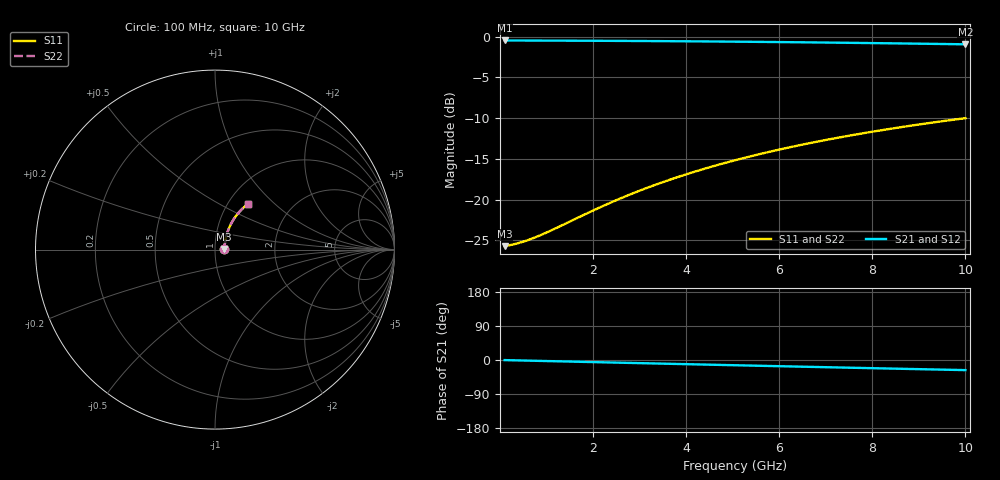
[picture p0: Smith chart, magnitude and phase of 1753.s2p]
# Hz S RI R 50.00
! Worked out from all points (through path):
!   100 points, 100 MHz to 10 GHz, reference 50 ohm
!   highest |S21| = -0.46 dB at 100 MHz (marker M1); lowest = -0.9 dB at 10 GHz (marker M2)
!   group delay of S21, straight-line fit = 7.43 ps
!   lowest |S11| = -25.7 dB at 100 MHz (marker M3), VSWR 1.11, Z = 55.5 + j0.346 ohm
!   |S11| at or under -10 dB: start of sweep to 9.994 GHz
!   |S22| runs from -25.7 to -10.0 dB; largest |S21 - S12| = 0
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1e8  0.0518 0.00311  0.9482 -0.00458  0.9482 -0.00458  0.0518 0.00311
3e8  0.0525 0.00932  0.9475 -0.0137  0.9475 -0.0137  0.0525 0.00932
4e8  0.0528 0.0124  0.9472 -0.0183  0.9472 -0.0183  0.0528 0.0124
5e8  0.0531 0.0155  0.9469 -0.0228  0.9469 -0.0228  0.0531 0.0155
7e8  0.0537 0.0217  0.9462 -0.032  0.9462 -0.032  0.0537 0.0217
9e8  0.0544 0.0279  0.9455 -0.041  0.9455 -0.041  0.0544 0.0279
1.1e9  0.0552 0.034  0.9447 -0.0501  0.9447 -0.0501  0.0552 0.034
1.8e9  0.0587 0.0554  0.9409 -0.0817  0.9409 -0.0817  0.0587 0.0554
2.2e9  0.0613 0.0674  0.9381 -0.0997  0.9381 -0.0997  0.0613 0.0674
2.6e9  0.0644 0.0793  0.9349 -0.1175  0.9349 -0.1175  0.0644 0.0793
3e9  0.0678 0.0911  0.9311 -0.1351  0.9311 -0.1351  0.0678 0.0911
3.4e9  0.0717 0.1027  0.927 -0.1526  0.927 -0.1526  0.0717 0.1027
3.8e9  0.076 0.1141  0.9224 -0.1699  0.9224 -0.1699  0.076 0.1141
4.2e9  0.0807 0.1253  0.9173 -0.1869  0.9173 -0.1869  0.0807 0.1253
4.6e9  0.0858 0.1363  0.9118 -0.2038  0.9118 -0.2038  0.0858 0.1363
5.1e9  0.0927 0.1497  0.9043 -0.2246  0.9043 -0.2246  0.0927 0.1497
5.9e9  0.105 0.1703  0.8911 -0.2569  0.8911 -0.2569  0.105 0.1703
6.7e9  0.1186 0.1897  0.8763 -0.2881  0.8763 -0.2881  0.1186 0.1897
7.5e9  0.1335 0.2078  0.8602 -0.3181  0.8602 -0.3181  0.1335 0.2078
8.4e9  0.1515 0.2266  0.8405 -0.3503  0.8405 -0.3503  0.1515 0.2266
9.2e9  0.1685 0.2419  0.8219 -0.3774  0.8219 -0.3774  0.1685 0.2419
1e10  0.1864 0.2557  0.8023 -0.4031  0.8023 -0.4031  0.1864 0.2557
